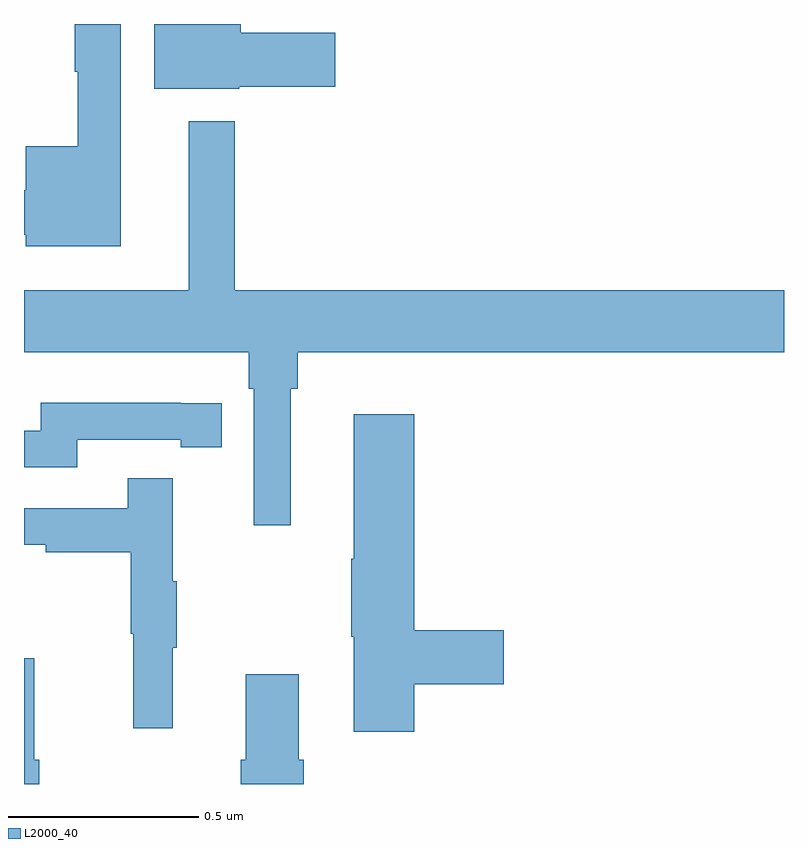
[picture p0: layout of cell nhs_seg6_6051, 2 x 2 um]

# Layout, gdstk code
import gdstk
lib = gdstk.Library(unit=1e-6, precision=1e-09)
def P(c, l, *ps):  # polygons
    for p in ps: c.add(gdstk.Polygon(p, *l))
L2000_40 = (2000, 40)

nhs_seg6_6051 = lib.new_cell('nhs_seg6_6051')
P(nhs_seg6_6051, L2000_40, [(190.566,981.335),(190.819,981.335),(190.819,981.477),(190.57,981.477),(190.57,981.5),(190.343,981.5),(190.343,981.329),(190.566,981.329)],
  [(190.255,981.5),(190.134,981.5),(190.134,981.374),(190.141,981.374),(190.141,981.178),(190.004,981.178),(190.004,981.062),(190,981.062),(190,980.945),(190.004,980.945),(190.004,980.915),(190.255,980.915)],
  [(190.702,980.54),(190.721,980.54),(190.721,980.636),(192,980.636),(192,980.8),(190.555,980.8),(190.555,981.244),(190.433,981.244),(190.433,980.8),(190,980.8),(190,980.636),(190.592,980.636),(190.592,980.54),(190.605,980.54),(190.605,980.181),(190.702,980.181)],
  [(190.14,980.406),(190.412,980.406),(190.412,980.386),(190.52,980.386),(190.52,980.502),(190.412,980.502),(190.412,980.503),(190.044,980.503),(190.044,980.43),(190,980.43),(190,980.334),(190.14,980.334)],
  [(191.027,979.762),(191.263,979.762),(191.263,979.904),(191.027,979.904),(191.027,980.473),(190.868,980.473),(190.868,980.093),(190.861,980.093),(190.861,979.887),(190.868,979.887),(190.868,979.638),(191.027,979.638)],
  [(190.391,979.859),(190.402,979.859),(190.402,980.033),(190.391,980.033),(190.391,980.305),(190.273,980.305),(190.273,980.226),(190,980.226),(190,980.13),(190.057,980.13),(190.057,980.11),(190.281,980.11),(190.281,979.896),(190.288,979.896),(190.288,979.647),(190.391,979.647)],
  [(190.04,979.564),(190.027,979.564),(190.027,979.831),(190,979.831),(190,979.5),(190.04,979.5)],
  [(190.736,979.564),(190.723,979.564),(190.723,979.789),(190.583,979.789),(190.583,979.564),(190.571,979.564),(190.571,979.5),(190.736,979.5)])

lib.write_gds('nhs_seg6_6051.gds')
